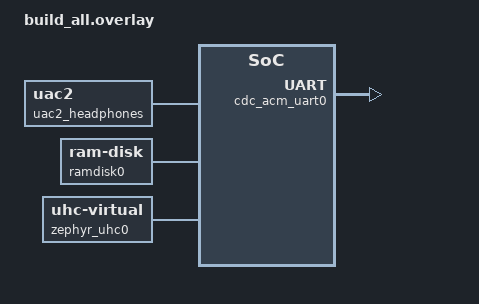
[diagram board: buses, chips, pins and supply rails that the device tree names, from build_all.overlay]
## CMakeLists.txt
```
# Copyright (c) 2023 Nordic Semiconductor ASA
# SPDX-License-Identifier: Apache-2.0

cmake_minimum_required(VERSION 3.20.0)

find_package(Zephyr REQUIRED HINTS $ENV{ZEPHYR_BASE})
project(test_usb_device_next)

target_include_directories(app PRIVATE ${ZEPHYR_BASE}/subsys/usb/host)

target_sources(app PRIVATE src/main.c)
```

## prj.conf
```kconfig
# Copyright (c) 2023 Nordic Semiconductor ASA
# SPDX-License-Identifier: Apache-2.0

CONFIG_LOG=y
CONFIG_ZTEST=y

CONFIG_USB_DEVICE_STACK_NEXT=y
CONFIG_USBD_LOOPBACK_CLASS=y

CONFIG_UHC_DRIVER=y
CONFIG_USB_HOST_STACK=y
```

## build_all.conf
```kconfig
# Copyright (c) 2024 Nordic Semiconductor ASA
# SPDX-License-Identifier: Apache-2.0

CONFIG_LOG=y
CONFIG_ZTEST=y

CONFIG_SHELL=y
CONFIG_USBD_SHELL=y

CONFIG_NETWORKING=y
CONFIG_NET_L2_ETHERNET=y

CONFIG_BT=y
CONFIG_BT_HCI_RAW=y

CONFIG_USB_DEVICE_STACK_NEXT=y
CONFIG_USBD_LOOPBACK_CLASS=y

CONFIG_SERIAL=y
CONFIG_UART_INTERRUPT_DRIVEN=y
CONFIG_UART_LINE_CTRL=y
CONFIG_USBD_CDC_ACM_CLASS=y

CONFIG_USBD_MSC_CLASS=y

CONFIG_USBD_AUDIO2_CLASS=y

CONFIG_USBD_BT_HCI=y

CONFIG_UHC_DRIVER=y
CONFIG_USB_HOST_STACK=y

CONFIG_TEST_RANDOM_GENERATOR=y
```

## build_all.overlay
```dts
/*
 * Copyright (c) 2024 Nordic Semiconductor ASA
 *
 * SPDX-License-Identifier: Apache-2.0
 */

/delete-node/ &zephyr_udc0;

#include <dt-bindings/usb/audio.h>

/ {
	uac2_headphones: usb_audio2 {
		compatible = "zephyr,uac2";
		status = "okay";
		audio-function = <AUDIO_FUNCTION_OTHER>;

		uac_aclk: aclk {
			compatible = "zephyr,uac2-clock-source";
			clock-type = "internal-programmable";
			frequency-control = "host-programmable";
			sampling-frequencies = <48000>;
		};

		out_terminal: out_terminal {
			compatible = "zephyr,uac2-input-terminal";
			clock-source = <&uac_aclk>;
			terminal-type = <USB_TERMINAL_STREAMING>;
			front-left;
			front-right;
		};

		headphones_output: headphones {
			compatible = "zephyr,uac2-output-terminal";
			data-source = <&out_terminal>;
			clock-source = <&uac_aclk>;
			terminal-type = <OUTPUT_TERMINAL_HEADPHONES>;
		};

		as_iso_out: out_interface {
			compatible = "zephyr,uac2-audio-streaming";
			linked-terminal = <&out_terminal>;
			subslot-size = <2>;
			bit-resolution = <16>;
		};
	};

	ramdisk0 {
		compatible = "zephyr,ram-disk";
		disk-name = "RAM";
		sector-size = <512>;
		sector-count = <1>;
	};

	cdc_ecm_eth0: cdc_ecm_eth0 {
		compatible = "zephyr,cdc-ecm-ethernet";
		remote-mac-address = "00005E005301";
	};

	zephyr_uhc0: uhc_vrt0 {
		compatible = "zephyr,uhc-virtual";

		zephyr_udc0: udc_vrt0 {
			compatible = "zephyr,udc-virtual";
			num-bidir-endpoints = <16>;
			maximum-speed = "high-speed";
		};
	};

};

&zephyr_udc0 {
	cdc_acm_uart0 {
		compatible = "zephyr,cdc-acm-uart";
	};
};
```

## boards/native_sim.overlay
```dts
/*
 * Copyright (c) 2023 Nordic Semiconductor ASA
 *
 * SPDX-License-Identifier: Apache-2.0
 */

/delete-node/ &zephyr_udc0;

/ {
	zephyr_uhc0: uhc_vrt0 {
		compatible = "zephyr,uhc-virtual";

		zephyr_udc0: udc_vrt0 {
			compatible = "zephyr,udc-virtual";
			num-bidir-endpoints = <8>;
			maximum-speed = "high-speed";
		};
	};
};
```

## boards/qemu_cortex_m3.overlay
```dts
/*
 * Copyright (c) 2023 Nordic Semiconductor ASA
 *
 * SPDX-License-Identifier: Apache-2.0
 */

/ {
	zephyr_uhc0: uhc_vrt0 {
		compatible = "zephyr,uhc-virtual";

		zephyr_udc0: udc_vrt0 {
			compatible = "zephyr,udc-virtual";
			num-bidir-endpoints = <8>;
			maximum-speed = "high-speed";
		};
	};
};
```

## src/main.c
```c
/*
 * Copyright (c) 2023 Nordic Semiconductor ASA
 *
 * SPDX-License-Identifier: Apache-2.0
 */

#include <zephyr/ztest.h>
#include <zephyr/usb/usbd.h>
#include <zephyr/usb/usbh.h>

#include "usbh_ch9.h"
#include "usbh_device.h"

#include <zephyr/logging/log.h>
LOG_MODULE_REGISTER(usb_test, LOG_LEVEL_INF);

#define TEST_DEFAULT_INTERFACE		0
#define TEST_DEFAULT_ALTERNATE		1

USBD_CONFIGURATION_DEFINE(test_fs_config,
			  USB_SCD_SELF_POWERED | USB_SCD_REMOTE_WAKEUP,
			  200);

USBD_CONFIGURATION_DEFINE(test_hs_config,
			  USB_SCD_SELF_POWERED | USB_SCD_REMOTE_WAKEUP,
			  200);


USBD_DESC_LANG_DEFINE(test_lang);
USBD_DESC_STRING_DEFINE(test_mfg, "ZEPHYR", 1);
USBD_DESC_STRING_DEFINE(test_product, "Zephyr USB Test", 2);
USBD_DESC_STRING_DEFINE(test_sn, "0123456789ABCDEF", 3);

USBD_DEVICE_DEFINE(test_usbd,
		   DEVICE_DT_GET(DT_NODELABEL(zephyr_udc0)),
		   0x2fe3, 0xffff);

USBH_CONTROLLER_DEFINE(uhs_ctx, DEVICE_DT_GET(DT_NODELABEL(zephyr_uhc0)));

/* Get Configuration request test */
ZTEST(device_next, test_get_configuration)
{
	struct usb_device *udev;
	uint8_t cfg = 0;
	int err;

	udev = usbh_device_get_any(&uhs_ctx);
	err = usbh_req_get_cfg(udev, &cfg);

	switch (udev->state) {
	case USB_STATE_DEFAULT:
		/* Not specified, expect protocol error */
		zassert_equal(err, -EPIPE, "Transfer status is not a protocol error");
		break;
	case USB_STATE_ADDRESSED:
		/* TODO: Expect zero value */
		zassert_equal(err, 0, "Transfer status is an error");
		zassert_equal(cfg, 0, "Device not in address state");
		break;
	case USB_STATE_CONFIGURED:
		/* TODO: Expect non-zero valid configuration value */
		zassert_equal(err, 0, "Transfer status is an error");
		zassert_not_equal(cfg, 0, "Device not in configured state");
		break;
	default:
		break;
	}
}

/* Set Interface request test */
ZTEST(device_next, test_set_interface)
{
	struct usb_device *udev;
	int err;

	udev = usbh_device_get_any(&uhs_ctx);
	err = usbh_req_set_alt(udev, TEST_DEFAULT_INTERFACE,
			       TEST_DEFAULT_ALTERNATE);

	switch (udev->state) {
	case USB_STATE_DEFAULT:
		/* Not specified, expect protocol error */
	case USB_STATE_ADDRESSED:
		/* Expect protocol error */
		zassert_equal(err, -EPIPE, "Transfer status is not a protocol error");
		break;
	case USB_STATE_CONFIGURED:
		/* TODO */
	default:
		break;
	}
}

static void *usb_test_enable(void)
{
	struct usb_device *udev;
	int err;

	err = usbh_init(&uhs_ctx);
	zassert_equal(err, 0, "Failed to initialize USB host");

	err = usbh_enable(&uhs_ctx);
	zassert_equal(err, 0, "Failed to enable USB host");

	err = uhc_bus_reset(uhs_ctx.dev);
	zassert_equal(err, 0, "Failed to signal bus reset");

	err = uhc_bus_resume(uhs_ctx.dev);
	zassert_equal(err, 0, "Failed to signal bus resume");

	err = uhc_sof_enable(uhs_ctx.dev);
	zassert_equal(err, 0, "Failed to enable SoF generator");

	LOG_INF("Host controller enabled");

	err = usbd_add_descriptor(&test_usbd, &test_lang);
	zassert_equal(err, 0, "Failed to initialize descriptor (%d)", err);

	err = usbd_add_descriptor(&test_usbd, &test_mfg);
	zassert_equal(err, 0, "Failed to initialize descriptor (%d)", err);

	err = usbd_add_descriptor(&test_usbd, &test_product);
	zassert_equal(err, 0, "Failed to initialize descriptor (%d)", err);

	err = usbd_add_descriptor(&test_usbd, &test_sn);
	zassert_equal(err, 0, "Failed to initialize descriptor (%d)", err);

	if (usbd_caps_speed(&test_usbd) == USBD_SPEED_HS) {
		err = usbd_add_configuration(&test_usbd, USBD_SPEED_HS, &test_hs_config);
		zassert_equal(err, 0, "Failed to add configuration (%d)");
	}

	err = usbd_add_configuration(&test_usbd, USBD_SPEED_FS, &test_fs_config);
	zassert_equal(err, 0, "Failed to add configuration (%d)");

	if (usbd_caps_speed(&test_usbd) == USBD_SPEED_HS) {
		err = usbd_register_all_classes(&test_usbd, USBD_SPEED_HS, 1);
		zassert_equal(err, 0, "Failed to unregister all instances(%d)");

		err = usbd_unregister_all_classes(&test_usbd, USBD_SPEED_HS, 1);
		zassert_equal(err, 0, "Failed to unregister all instances(%d)");

		err = usbd_register_class(&test_usbd, "loopback_0", USBD_SPEED_HS, 1);
		zassert_equal(err, 0, "Failed to register loopback_0 class (%d)");
	}

	err = usbd_register_all_classes(&test_usbd, USBD_SPEED_FS, 1);
	zassert_equal(err, 0, "Failed to unregister all instances(%d)");

	err = usbd_unregister_all_classes(&test_usbd, USBD_SPEED_FS, 1);
	zassert_equal(err, 0, "Failed to unregister all instances(%d)");

	err = usbd_register_class(&test_usbd, "loopback_0", USBD_SPEED_FS, 1);
	zassert_equal(err, 0, "Failed to register loopback_0 class (%d)");

	err = usbd_init(&test_usbd);
	zassert_equal(err, 0, "Failed to initialize device support");

	err = usbd_enable(&test_usbd);
	zassert_equal(err, 0, "Failed to enable device support");

	LOG_INF("Device support enabled");
	udev = usbh_device_get_any(&uhs_ctx);
	udev->state = USB_STATE_DEFAULT;

	return NULL;
}

static void usb_test_shutdown(void *f)
{
	int err;

	err = usbd_disable(&test_usbd);
	zassert_equal(err, 0, "Failed to enable device support");

	err = usbd_shutdown(&test_usbd);
	zassert_equal(err, 0, "Failed to shutdown device support");

	LOG_INF("Device support disabled");

	err = usbh_disable(&uhs_ctx);
	zassert_equal(err, 0, "Failed to disable USB host");

	LOG_INF("Host controller disabled");
}

ZTEST_SUITE(device_next, NULL, usb_test_enable, NULL, NULL, usb_test_shutdown);
```
